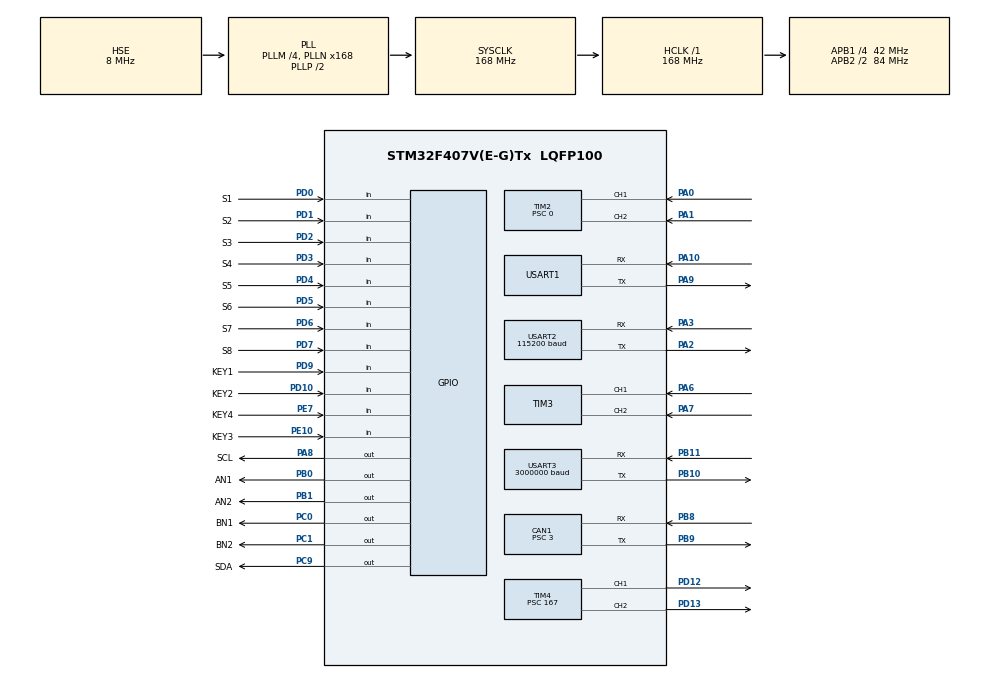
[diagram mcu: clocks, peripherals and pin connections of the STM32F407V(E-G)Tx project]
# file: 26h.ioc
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CAN1.BS1=CAN_BS1_10TQ
CAN1.BS2=CAN_BS2_3TQ
CAN1.CalculateBaudRate=1000000
CAN1.CalculateTimeBit=1000
CAN1.CalculateTimeQuantum=71.42857142857143
CAN1.Prescaler=3
Dma.Request0=USART2_RX
Dma.Request1=USART3_RX
Dma.USART2_RX.0.Direction=DMA_PERIPH_TO_MEMORY
Dma.USART2_RX.0.FIFOMode=DMA_FIFOMODE_DISABLE
Dma.USART2_RX.0.Instance=DMA1_Stream5
Dma.USART2_RX.0.MemDataAlignment=DMA_MDATAALIGN_BYTE
Dma.USART2_RX.0.MemInc=DMA_MINC_ENABLE
Dma.USART2_RX.0.Mode=DMA_NORMAL
Dma.USART2_RX.0.PeriphDataAlignment=DMA_PDATAALIGN_BYTE
Dma.USART2_RX.0.PeriphInc=DMA_PINC_DISABLE
Dma.USART2_RX.0.Priority=DMA_PRIORITY_LOW
Dma.USART3_RX.1.Direction=DMA_PERIPH_TO_MEMORY
Dma.USART3_RX.1.FIFOMode=DMA_FIFOMODE_DISABLE
Dma.USART3_RX.1.Instance=DMA1_Stream1
Dma.USART3_RX.1.MemDataAlignment=DMA_MDATAALIGN_BYTE
Dma.USART3_RX.1.MemInc=DMA_MINC_ENABLE
Dma.USART3_RX.1.Mode=DMA_CIRCULAR
Dma.USART3_RX.1.PeriphDataAlignment=DMA_PDATAALIGN_BYTE
Dma.USART3_RX.1.PeriphInc=DMA_PINC_DISABLE
Dma.USART3_RX.1.Priority=DMA_PRIORITY_HIGH
Mcu.Family=STM32F4
Mcu.Name=STM32F407V(E-G)Tx
Mcu.Package=LQFP100
NVIC.CAN1_RX0_IRQn=true\:0\:0\:false\:false\:true\:true\:true\:true
NVIC.CAN1_TX_IRQn=true\:0\:0\:false\:false\:true\:true\:true\:true
NVIC.DMA1_Stream1_IRQn=true\:0\:0\:false\:false\:true\:false\:true\:true
NVIC.DMA1_Stream5_IRQn=true\:0\:0\:false\:false\:true\:false\:true\:true
NVIC.PriorityGroup=NVIC_PRIORITYGROUP_4
NVIC.TIM5_IRQn=true\:0\:0\:false\:false\:true\:true\:true\:true
NVIC.TIM6_DAC_IRQn=true\:1\:0\:true\:false\:true\:true\:true\:true
NVIC.TIM7_IRQn=true\:2\:0\:true\:false\:true\:true\:true\:true
NVIC.USART1_IRQn=true\:0\:0\:false\:false\:true\:true\:true\:true
NVIC.USART2_IRQn=true\:0\:0\:false\:false\:true\:true\:true\:true
NVIC.USART3_IRQn=true\:0\:0\:false\:false\:true\:true\:true\:true
PA0-WKUP.Signal=S_TIM2_CH1_ETR
PA1.Signal=S_TIM2_CH2
PA10.Mode=Asynchronous
PA10.Signal=USART1_RX
PA13.Mode=Serial_Wire
PA13.Signal=SYS_JTMS-SWDIO
PA14.Mode=Serial_Wire
PA14.Signal=SYS_JTCK-SWCLK
PA2.Mode=Asynchronous
PA2.Signal=USART2_TX
PA3.Mode=Asynchronous
PA3.Signal=USART2_RX
PA6.Signal=S_TIM3_CH1
PA7.Signal=S_TIM3_CH2
PA8.GPIO_Label=SCL
PA8.Signal=GPIO_Output
PA9.Mode=Asynchronous
PA9.Signal=USART1_TX
PB0.GPIO_Label=AN1
PB0.Signal=GPIO_Output
PB1.GPIO_Label=AN2
PB1.Signal=GPIO_Output
PB10.Mode=Asynchronous
PB10.Signal=USART3_TX
PB11.Mode=Asynchronous
PB11.Signal=USART3_RX
PB8.Mode=CAN_Activate
PB8.Signal=CAN1_RX
PB9.Mode=CAN_Activate
PB9.Signal=CAN1_TX
PC0.GPIO_Label=BN1
PC0.Signal=GPIO_Output
PC1.GPIO_Label=BN2
PC1.Signal=GPIO_Output
PC9.GPIO_Label=SDA
PC9.Signal=GPIO_Output
PD0.GPIO_Label=S1
PD0.Signal=GPIO_Input
PD1.GPIO_Label=S2
PD1.Signal=GPIO_Input
PD10.GPIO_Label=KEY2
PD10.GPIO_PuPd=GPIO_PULLUP
PD10.Signal=GPIO_Input
PD12.Signal=S_TIM4_CH1
PD13.Signal=S_TIM4_CH2
PD2.GPIO_Label=S3
PD2.Signal=GPIO_Input
PD3.GPIO_Label=S4
PD3.Signal=GPIO_Input
PD4.GPIO_Label=S5
PD4.Signal=GPIO_Input
PD5.GPIO_Label=S6
PD5.Signal=GPIO_Input
PD6.GPIO_Label=S7
PD6.Signal=GPIO_Input
PD7.GPIO_Label=S8
PD7.Signal=GPIO_Input
PD9.GPIO_Label=KEY1
PD9.GPIO_PuPd=GPIO_PULLUP
PD9.Signal=GPIO_Input
PE10.GPIO_Label=KEY3
PE10.GPIO_PuPd=GPIO_PULLUP
PE10.Signal=GPIO_Input
PE7.GPIO_Label=KEY4
PE7.GPIO_PuPd=GPIO_PULLUP
PE7.Signal=GPIO_Input
PH0-OSC_IN.Mode=HSE-External-Oscillator
PH0-OSC_IN.Signal=RCC_OSC_IN
PH1-OSC_OUT.Mode=HSE-External-Oscillator
PH1-OSC_OUT.Signal=RCC_OSC_OUT
ProjectManager.HeapSize=0x200
ProjectManager.StackSize=0x400
ProjectManager.TargetToolchain=CMake
RCC.48MHZClocksFreq_Value=84000000
RCC.AHBFreq_Value=168000000
RCC.APB1CLKDivider=RCC_HCLK_DIV4
RCC.APB1Freq_Value=42000000
RCC.APB1TimFreq_Value=84000000
RCC.APB2CLKDivider=RCC_HCLK_DIV2
RCC.APB2Freq_Value=84000000
RCC.APB2TimFreq_Value=168000000
RCC.CortexFreq_Value=168000000
RCC.HCLKFreq_Value=168000000
RCC.HSE_VALUE=8000000
RCC.HSI_VALUE=16000000
RCC.LSE_VALUE=32768
RCC.PLLM=4
RCC.PLLN=168
RCC.PLLSourceVirtual=RCC_PLLSOURCE_HSE
RCC.SYSCLKFreq_VALUE=168000000
RCC.SYSCLKSource=RCC_SYSCLKSOURCE_PLLCLK
RCC.VCOOutputFreq_Value=336000000
SH.S_TIM2_CH1_ETR.0=TIM2_CH1,Encoder_Interface
SH.S_TIM2_CH2.0=TIM2_CH2,Encoder_Interface
SH.S_TIM3_CH1.0=TIM3_CH1,Encoder_Interface
SH.S_TIM3_CH2.0=TIM3_CH2,Encoder_Interface
SH.S_TIM4_CH1.0=TIM4_CH1,PWM Generation1 CH1
SH.S_TIM4_CH2.0=TIM4_CH2,PWM Generation2 CH2
TIM2.Period=65535
TIM2.Prescaler=0
TIM4.Channel-PWM\ Generation1\ CH1=TIM_CHANNEL_1
TIM4.Channel-PWM\ Generation2\ CH2=TIM_CHANNEL_2
TIM4.Period=99
TIM4.Prescaler=167
TIM5.Period=19999
TIM5.Prescaler=83
TIM6.Period=1999
TIM6.Prescaler=83
TIM7.Period=9999
TIM7.Prescaler=83
USART1.VirtualMode=VM_ASYNC
USART2.BaudRate=115200
USART2.OverSampling=UART_OVERSAMPLING_16
USART2.VirtualMode=VM_ASYNC
USART3.BaudRate=3000000
USART3.OverSampling=UART_OVERSAMPLING_8
USART3.VirtualMode=VM_ASYNC
VP_TIM5_VS_ClockSourceINT.Mode=Internal
VP_TIM6_VS_ClockSourceINT.Mode=Enable_Timer
VP_TIM7_VS_ClockSourceINT.Mode=Enable_Timer
board=custom

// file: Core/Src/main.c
/* USER CODE BEGIN Header */
/**
  ******************************************************************************
  * @file           : main.c
  * @brief          : Main program body
  ******************************************************************************
  * @attention
  *
  * Copyright (c) 2026 STMicroelectronics.
  * All rights reserved.
  *
  * This software is licensed under terms that can be found in the LICENSE file
  * in the root directory of this software component.
  * If no LICENSE file comes with this software, it is provided AS-IS.
  *
  ******************************************************************************
  */
/* USER CODE END Header */
/*
                   _ooOoo_
                  o8888888o
                  88" . "88
                  (| -_- |)
                  O\  =  /O
               ____/`---'\____
             .'  \\|     |//  `.
            /  \\|||  :  |||//  \
           /  _||||| -:- |||||-  \
           |   | \\\  -  /// |   |
           | \_|  ''\---/''  |   |
           \  .-\__  `-`  ___/-. /
         ___`. .'  /--.--\  `. . __
      ."" '<  `.___\_<|>_/___.'  >'"".
     | | :  `- \`.;`\ _ /`;.`/ - ` : | |
     \  \ `-.   \_ __\ /__ _/   .-` /  /
======`-.____`-.___\_____/___.-`____.-'======
                   `=---='
^^^^^^^^^^^^^^^^^^^^^^^^^^^^^^^^^^^^^^^^^^^^^
            佛祖保佑       永无BUG
*/
#include "main.h"
#include "can.h"
#include "dma.h"
#include "tim.h"
#include "usart.h"
#include "gpio.h"

/* USER CODE BEGIN Includes */
#include "gm6020_can.h"
#include "debug_uart.h"
#include "pid.h"
#include "flash_params.h"
#include "chassis_pid.h"
#include "motor.h"
#include "gray_sensor.h"
#include "oled.h"
#include "vision_uart.h"
#include "qiu_weizhi.h"
#include "bno085_shtp.h"
#include "competition.h"
#include <stdio.h>
/* USER CODE END Includes */

/* USER CODE BEGIN PD */
/* chassis tracking (ONE), TIM5 20ms
 * 基础速度不再是常量：改由 competition 按任务/斜坡给
 * （Competition_GetTrackSpeedRPM），起停才能缓合。 */
#define TRACK_SENSOR_REVERSED  0
#define LEFT_ENCODER_SIGN      (-1)
#define RIGHT_ENCODER_SIGN     1

#define PID_DEBUG_DISABLED        0
#define PID_DEBUG_LEFT            1
#define PID_DEBUG_RIGHT           2
#define PID_DEBUG_BOTH            3
#define PID_DEBUG_MOTOR           PID_DEBUG_DISABLED
#define PID_DEBUG_TARGET_RPM      230.0f
/* OLED 刷新和按键消抖都搬进 competition 了，这里不再需要。
 * KEY1~4 现在是比赛菜单键（上一项/下一项/启动/停止），
 * 不再是电机启停——手动启停请用串口 E/S。 */

#define ENCODER_COUNTS_PER_REV 28.0f
#define MOTOR_GEAR_RATIO       13.0f
#define CONTROL_PERIOD_SECONDS 0.020f
#define ENCODER_RPM_PER_COUNT  \
  (60.0f / (ENCODER_COUNTS_PER_REV * MOTOR_GEAR_RATIO * CONTROL_PERIOD_SECONDS))

/* 平台角度已到位且转子停住时，逐拍释放速度环历史积分。
 * 避免角度环目标归零后仍带着上一段运动的保持电压。 */
#define SUDU_JINGZHI_MUBIAO_RPM  0.30f
#define SUDU_JINGZHI_SHICE_RPM   1.00f
#define SUDU_JIFEN_SHUAIJIAN     0.95f
/* USER CODE END PD */

/* USER CODE BEGIN PV */
volatile float   mubiao_sudu    = 0.0f;
volatile uint8_t dianji_shineng = 1;
PID_t sudu_pid;                 /* 速度环 2ms */
PID_t jiaodu_pid;               /* 角度环 5ms */

/* 0=纯速度(V)  1=角度环(T)：T 给相对水平倾角(度) */
volatile uint8_t  jiaodu_moshi     = 0;
volatile float    mubiao_qingjiao  = 0.0f;   /* 目标倾角 °，T 命令写入 */
volatile float    mubiao_raw_f     = (float)JIAODU_PINGHENG_RAW;
volatile float    jiaodu_rpm_cmd   = 0.0f;   /* 角度环输出的转速指令 */

volatile int16_t  dianya_shuchu = 0;
volatile uint32_t fasong_count  = 0;
volatile int8_t   zhuanxiang   = 1;
volatile int8_t   xianwei_zt   = 0;
volatile uint32_t xianwei_cnt  = 0;

static GraySensor_HandleTypeDef tracking_sensor;
#if PID_DEBUG_MOTOR == PID_DEBUG_DISABLED
static uint32_t tracking_lost_time = 0U;
static uint8_t tracking_state = TRACK_STATE_NORMAL;
#endif
volatile int32_t encoder_left_count = 0;
volatile int32_t encoder_right_count = 0;
volatile float motor_rpm_left = 0.0f;
volatile float motor_rpm_right = 0.0f;
volatile int16_t debug_left_pwm = 0;
volatile int16_t debug_right_pwm = 0;
volatile float competition_target_rpm = 0.0f;
volatile float competition_target_accel_peak_rpm_s = 0.0f;
BNO085_SHTP_Data_t bno085_shtp_data = {0};
/* USER CODE END PV */

void SystemClock_Config(void);

/* USER CODE BEGIN 0 */
static float jiaodu_xianwei(float mubiao)
{
    int16_t dangqian = motor_date[0].rotor_angle;
    float wai_zheng = mubiao * (float)zhuanxiang;

    if (dangqian >= JIAODU_RUAN_MAX && wai_zheng > 0.0f)
    {
        xianwei_zt = 1;
        xianwei_cnt++;
        PID_Reset(&sudu_pid);
        return 0.0f;
    }
    if (dangqian <= JIAODU_RUAN_MIN && wai_zheng < 0.0f)
    {
        xianwei_zt = -1;
        xianwei_cnt++;
        PID_Reset(&sudu_pid);
        return 0.0f;
    }

    xianwei_zt = 0;
    return mubiao;
}

/* 倾角(°) → 目标 raw，夹在工作区（Flash 可改 jiaodu_gongzuo_du）且不超出软限 */
static float qingjiao_dao_raw(float qingjiao_du)
{
    float raw;
    float lo;
    float hi;
    float banjing = jiaodu_gongzuo_du;

    if (banjing < 0.1f)
    {
        banjing = JIAODU_GONGZUO_DU;
    }
    if (qingjiao_du > banjing)
    {
        qingjiao_du = banjing;
    }
    if (qingjiao_du < -banjing)
    {
        qingjiao_du = -banjing;
    }

    raw = (float)jiaodu_pingheng_raw + qingjiao_du * JIAODU_TICK_PER_DEG;
    lo  = (float)JIAODU_RUAN_MIN;
    hi  = (float)JIAODU_RUAN_MAX;
    if (raw < lo)
    {
        raw = lo;
    }
    if (raw > hi)
    {
        raw = hi;
    }
    return raw;
}

/* 角度环 5ms：目标 raw vs 实测 raw → 目标 RPM（写入 mubiao_sudu） */
static void jiaodu_huan_gengxin(void)
{
    static float shangci_mubiao_raw = 0.0f;
    static uint32_t shangci_ms = 0U;
    static uint8_t qian_kui_youxiao = 0U;
    float dangqian;
    float fankui_out;
    float qian_kui_rpm = 0.0f;
    float out;
    uint32_t now_ms;

    mubiao_raw_f = qingjiao_dao_raw(mubiao_qingjiao);
    dangqian = (float)motor_date[0].rotor_angle;
    now_ms = HAL_GetTick();

    /* 对最终限幅目标求速度，直接给出电机所需RPM。首次运行或停顿后
     * 只同步历史目标，避免停机期间积累的目标差在重启时形成尖峰。 */
    if (qian_kui_youxiao)
    {
        uint32_t dt_ms = now_ms - shangci_ms;

        if (dt_ms > 0U && dt_ms <= JIAODU_RATE_FF_TIMEOUT_MS)
        {
            float mubiao_sulv_deg_s =
                ((mubiao_raw_f - shangci_mubiao_raw) / JIAODU_TICK_PER_DEG) *
                (1000.0f / (float)dt_ms);

            qian_kui_rpm = mubiao_sulv_deg_s /
                           JIAODU_DEG_S_PER_RPM * JIAODU_RATE_FF_GAIN;
            qian_kui_rpm = PID_LIMIT_MIN_MAX(qian_kui_rpm,
                                              -JIAODU_RATE_FF_RPM_MAX,
                                               JIAODU_RATE_FF_RPM_MAX);
        }
    }
    shangci_mubiao_raw = mubiao_raw_f;
    shangci_ms = now_ms;
    qian_kui_youxiao = 1U;

    /* 复用 PID_SpeedLoop 形：actual/target 单位都是 raw tick
     * 输出当作 RPM。Ki 默认 0。近零误差仍连续输出，不能硬清零，
     * 否则平台会在到位边界失去制动并形成粘滑。增益按5ms调。 */
    fankui_out = PID_SpeedLoop(&jiaodu_pid, dangqian, mubiao_raw_f);
    out = fankui_out + qian_kui_rpm;
    out = PID_LIMIT_MIN_MAX(out, -JIAODU_RPM_MAX, JIAODU_RPM_MAX);

    jiaodu_rpm_cmd = out;
    mubiao_sudu = out;
}

/* MotorButtons_Update / OLED_UpdateMotorRPM 已移除：
 * KEY1~4 和 OLED 现在归 competition 模块（比赛菜单+计时+球位置），
 * 底盘启停由 Competition_ChassisTick20ms 的返回值决定。
 * 手动启停电机改用串口 E / S。 */
/* TIM6 2ms 速度环+CAN；TIM7 5ms 角度环+打印分频；TIM5 20ms 底盘
 *
 * 无 CAN 反馈时绝不闭环：角度恒为0，限位会失真。
 */
void HAL_TIM_PeriodElapsedCallback(TIM_HandleTypeDef *htim)
{
    if (htim->Instance == TIM6)
    {
        uint8_t fankui_huo = (motor_date[0].rx_count > 0U);

        if (dianji_shineng && fankui_huo)
        {
            float mubiao_anquan = jiaodu_xianwei(mubiao_sudu);
            float shice_sudu = (float)motor_date[0].rotor_speed;

            /* 只在平台既不要求转动、转子也已静止时衰减旧积分。
             * 运动中不碰积分，避免损失跟随能力。 */
            if (mubiao_anquan > -SUDU_JINGZHI_MUBIAO_RPM &&
                mubiao_anquan <  SUDU_JINGZHI_MUBIAO_RPM &&
                shice_sudu > -SUDU_JINGZHI_SHICE_RPM &&
                shice_sudu <  SUDU_JINGZHI_SHICE_RPM)
            {
                sudu_pid.err_sum *= SUDU_JIFEN_SHUAIJIAN;
            }

            float out = PID_SpeedLoop(&sudu_pid, shice_sudu, mubiao_anquan);
            dianya_shuchu = (int16_t)out;

            int16_t jiao = motor_date[0].rotor_angle;
            float  xiang = (float)dianya_shuchu * (float)zhuanxiang;
            if ((jiao >= JIAODU_MAX && xiang > 0.0f) ||
                (jiao <= JIAODU_MIN && xiang < 0.0f))
            {
                dianya_shuchu = 0;
            }
        }
        else
        {
            PID_Reset(&sudu_pid);
            dianya_shuchu = 0;
            if (jiaodu_moshi)
            {
                PID_Reset(&jiaodu_pid);
                jiaodu_rpm_cmd = 0.0f;
            }
            /* 位置环也一起清：停机期间积分照攒，E1 那一刻会猛甩一下 */
            if (qiu_moshi)
            {
                QiuWeizhi_Reset();
            }
        }

        CAN_Transmit(dianya_shuchu, 0, 0, 0, Voltage);
        fasong_count++;
    }
    else if (htim->Instance == TIM7)
    {
        /* 灰度标记检测要 5ms 拍，比 20ms 底盘环快，才不会漏掉窄标记 */
        Competition_MarkerTick5ms();

        /* 5ms位置环服务：新视觉帧才入队，每2帧算一次外环；
         * 其余拍只把倾角命令按M限速送给200Hz角度环。 */
        if (qiu_moshi && dianji_shineng &&
            (motor_date[0].rx_count > 0U))
        {
            QiuWeizhi_Update();
        }

        /* 5ms：角度模式且有反馈时跑外环 */
        if (jiaodu_moshi && dianji_shineng &&
            (motor_date[0].rx_count > 0U))
        {
            jiaodu_huan_gengxin();
        }

        /* 位置环调试打印10Hz；调参固件在待机及所有比赛任务中均开启。 */
        {
            static uint8_t dayin_fenpin = 0;
            if (!dbg_stream_enable || !Competition_PeriodicDebugEnabled())
            {
                dayin_fenpin = 0;
                dbg_print_pending = 0;
            }
            else if (++dayin_fenpin >= QIU_DAYIN_FENPIN)
            {
                dayin_fenpin = 0;
                if (dbg_print_pending) dbg_print_lost++;
                else                   dbg_print_pending = 1;
            }
        }
    }
    else if (htim->Instance == TIM5)
    {
        Competition_ChassisMode competition_mode;
        int16_t competition_left_pwm = 0;
        int16_t competition_right_pwm = 0;
#if PID_DEBUG_MOTOR == PID_DEBUG_LEFT || PID_DEBUG_MOTOR == PID_DEBUG_RIGHT
        float debug_pwm;
#else
        float left_pwm;
        float right_pwm;
#endif

        encoder_left_count = LEFT_ENCODER_SIGN *
                             (int16_t)__HAL_TIM_GET_COUNTER(&htim2);
        encoder_right_count = RIGHT_ENCODER_SIGN *
                              (int16_t)__HAL_TIM_GET_COUNTER(&htim3);
        __HAL_TIM_SET_COUNTER(&htim2, 0U);
        __HAL_TIM_SET_COUNTER(&htim3, 0U);

        motor_rpm_left = (float)encoder_left_count * ENCODER_RPM_PER_COUNT;
        motor_rpm_right = (float)encoder_right_count * ENCODER_RPM_PER_COUNT;

        /* 底盘启停权交给 competition：STOP=停、DIRECT=直行给定PWM、
         * TRACK=往下走循迹。原来的 motor_run_enabled + KEY2 已撤。 */
        competition_mode = Competition_ChassisTick20ms(motor_rpm_left,
                                                        motor_rpm_right,
                                                        encoder_left_count,
                                                        encoder_right_count,
                                                        &competition_left_pwm,
                                                        &competition_right_pwm);
        {
            static float shangci_dipan_mubiao_rpm = 0.0f;
            static uint8_t dipan_yidong_yisuocun = 0U;
            float dangqian_dipan_mubiao_rpm = Competition_GetTrackSpeedRPM();
            float mubiao_jiasudu_rpm_s =
                (dangqian_dipan_mubiao_rpm - shangci_dipan_mubiao_rpm) / 0.020f;
            uint8_t cmd_ff_active = Competition_CommandFeedforwardActive();
            float cmd_ff_gain = Competition_GetCommandFeedforwardGain();
            float cmd_ff_deg = Competition_AdjustCommandFeedforwardDeg(
                cmd_ff_gain * mubiao_jiasudu_rpm_s);
            int32_t left_count_abs = (encoder_left_count >= 0)
                                   ? encoder_left_count : -encoder_left_count;
            int32_t right_count_abs = (encoder_right_count >= 0)
                                    ? encoder_right_count : -encoder_right_count;
            float abs_jiasudu = (mubiao_jiasudu_rpm_s >= 0.0f)
                              ? mubiao_jiasudu_rpm_s : -mubiao_jiasudu_rpm_s;
            float abs_fengzhi = (competition_target_accel_peak_rpm_s >= 0.0f)
                              ? competition_target_accel_peak_rpm_s
                              : -competition_target_accel_peak_rpm_s;

            competition_target_rpm = dangqian_dipan_mubiao_rpm;
            if (!cmd_ff_active)
            {
                dipan_yidong_yisuocun = 0U;
            }
            else if ((left_count_abs + right_count_abs) >= 2)
            {
                /* 两个编码器计数约等于平均轮速8.24RPM，确认底盘已克服
                 * 静摩擦后再允许命令前馈；锁存避免低速量化反复开关。 */
                dipan_yidong_yisuocun = 1U;
            }
            QiuWeizhi_SetChassisCommandAccelFF(
                (cmd_ff_gain != 0.0f) ? (cmd_ff_deg / cmd_ff_gain) : 0.0f,
                cmd_ff_gain,
                cmd_ff_active && dipan_yidong_yisuocun);
            if (abs_jiasudu > abs_fengzhi)
            {
                competition_target_accel_peak_rpm_s = mubiao_jiasudu_rpm_s;
            }
            shangci_dipan_mubiao_rpm = dangqian_dipan_mubiao_rpm;
        }
        if (competition_mode == COMP_CHASSIS_STOP)
        {
            Chassis_PID_Reset(&piderr);
            Chassis_PID_Reset(&pidMotor1Speed);
            Chassis_PID_Reset(&pidMotor2Speed);
            debug_left_pwm = 0;
            debug_right_pwm = 0;
            Set_pwm(0, 0);
            return;
        }
        if (competition_mode == COMP_CHASSIS_DIRECT)
        {
            Chassis_PID_Reset(&piderr);
            Chassis_PID_Reset(&pidMotor1Speed);
            Chassis_PID_Reset(&pidMotor2Speed);
            debug_left_pwm = competition_left_pwm;
            debug_right_pwm = competition_right_pwm;
            Set_pwm(competition_left_pwm, competition_right_pwm);
            return;
        }

#if PID_DEBUG_MOTOR == PID_DEBUG_LEFT
        debug_pwm = PID_realize(&pidMotor1Speed, motor_rpm_left);
        debug_left_pwm = (int16_t)debug_pwm;
        debug_right_pwm = 0;
        Set_pwm(debug_left_pwm, 0);
        return;
#elif PID_DEBUG_MOTOR == PID_DEBUG_RIGHT
        debug_pwm = PID_realize(&pidMotor2Speed, motor_rpm_right);
        debug_left_pwm = 0;
        debug_right_pwm = (int16_t)debug_pwm;
        Set_pwm(0, debug_right_pwm);
        return;
#elif PID_DEBUG_MOTOR == PID_DEBUG_BOTH
        left_pwm = PID_realize(&pidMotor1Speed, motor_rpm_left);
        right_pwm = PID_realize(&pidMotor2Speed, motor_rpm_right);
        debug_left_pwm = (int16_t)left_pwm;
        debug_right_pwm = (int16_t)right_pwm;
        Set_pwm(debug_left_pwm, debug_right_pwm);
        return;
#else
        GraySensor_Update(&tracking_sensor);
        XinZhiStateMachine(&tracking_sensor,
                           &piderr,
                           &pidMotor1Speed,
                           &pidMotor2Speed,
                           Competition_GetTrackSpeedRPM(),
                           &tracking_lost_time,
                           &tracking_state,
                           Competition_BallTrackProfileActive());

        if (tracking_state == TRACK_STATE_STOP)
        {
            Chassis_PID_Reset(&pidMotor1Speed);
            Chassis_PID_Reset(&pidMotor2Speed);
            Set_pwm(0, 0);
            /* 告知 competition 丢线，让它退出本圈而不是干等 */
            Competition_TrackLost();
            return;
        }

        left_pwm = PID_realize(&pidMotor1Speed, motor_rpm_left);
        right_pwm = PID_realize(&pidMotor2Speed, motor_rpm_right);
        Set_pwm((int)left_pwm, (int)right_pwm);
#endif
    }
}

void HAL_UART_RxCpltCallback(UART_HandleTypeDef *huart)
{
    if (huart->Instance == USART1)
    {
        Debug_RxByte();
    }
}
/* USER CODE END 0 */

int main(void)
{

  /* MCU Configuration--------------------------------------------------------*/

  /* Reset of all peripherals, Initializes the Flash interface and the Systick. */

  HAL_Init();

  /* Configure the system clock */
  SystemClock_Config();

  /* Initialize all configured peripherals */
  MX_GPIO_Init();
  MX_DMA_Init();
  MX_CAN1_Init();
  MX_USART1_UART_Init();
  MX_TIM2_Init();
  MX_TIM3_Init();
  MX_TIM4_Init();
  MX_TIM5_Init();
  MX_USART2_UART_Init();
  MX_USART3_UART_Init();
  MX_TIM6_Init();
  MX_TIM7_Init();
  /* USER CODE BEGIN 2 */
  /* 尽早启动BNO085 DMA，避免后续OLED/Flash初始化期间错过冷启动广告。 */
  BNO085_SHTP_Init();
  Configure_Filter();

  /* 先装宏默认，再开机自动加载 Flash（有存档则覆盖） */
  PID_Init(&sudu_pid, SUDU_KP_DEFAULT, SUDU_KI_DEFAULT, SUDU_KD_DEFAULT);
  PID_Init(&jiaodu_pid, JIAODU_KP_DEFAULT, JIAODU_KI_DEFAULT, JIAODU_KD_DEFAULT);
  QiuWeizhi_Init();          /* 位置环宏默认，紧接着可被 Flash 覆盖 */
  jiaodu_pingheng_raw = JIAODU_PINGHENG_RAW;
  jiaodu_gongzuo_du   = JIAODU_GONGZUO_DU;
  (void)FlashParams_Load(&sudu_pid, &jiaodu_pid, &zhuanxiang);

  /* 位置环启动最大倾角与角度环工作半宽一致，旧 Flash 的 H 不覆盖此默认。 */
  qiu_qingjiao_max = jiaodu_gongzuo_du;

  mubiao_qingjiao = 0.0f;
  mubiao_raw_f = (float)jiaodu_pingheng_raw;
  /* 位置环和电机默认使能；无CAN反馈时速度环仍会保持零输出。 */
  jiaodu_moshi = 1;
  qiu_moshi = 1;
  dianji_shineng = 1;
  QiuWeizhi_Reset();

  Chassis_PID_init();
  OLED_Init();
#if PID_DEBUG_MOTOR == PID_DEBUG_LEFT
  pidMotor1Speed.target_val = PID_DEBUG_TARGET_RPM;
  pidMotor2Speed.target_val = 0.0f;
#elif PID_DEBUG_MOTOR == PID_DEBUG_RIGHT
  pidMotor1Speed.target_val = 0.0f;
  pidMotor2Speed.target_val = PID_DEBUG_TARGET_RPM;
#elif PID_DEBUG_MOTOR == PID_DEBUG_BOTH
  pidMotor1Speed.target_val = PID_DEBUG_TARGET_RPM;
  pidMotor2Speed.target_val = PID_DEBUG_TARGET_RPM;
#endif

#if TRACK_SENSOR_REVERSED
  GraySensor_Init(&tracking_sensor,
                  GPIOD, GPIO_PIN_7,
                  GPIOD, GPIO_PIN_6,
                  GPIOD, GPIO_PIN_5,
                  GPIOD, GPIO_PIN_4,
                  GPIOD, GPIO_PIN_3,
                  GPIOD, GPIO_PIN_2,
                  GPIOD, GPIO_PIN_1,
                  GPIOD, GPIO_PIN_0);
#else
  GraySensor_Init(&tracking_sensor,
                  GPIOD, GPIO_PIN_0,
                  GPIOD, GPIO_PIN_1,
                  GPIOD, GPIO_PIN_2,
                  GPIOD, GPIO_PIN_3,
                  GPIOD, GPIO_PIN_4,
                  GPIOD, GPIO_PIN_5,
                  GPIOD, GPIO_PIN_6,
                  GPIOD, GPIO_PIN_7);
#endif

  Set_pwm(0, 0);
  __HAL_TIM_SET_COUNTER(&htim2, 0U);
  __HAL_TIM_SET_COUNTER(&htim3, 0U);

  printf("\r\n# GM6020 ball cascade ready (vision/2 outer, 4-frame velocity)\r\n");
  printf("# qiu and motor enabled at boot; CAN feedback required for output\r\n");
  printf("# pos X=%.2f Y=%.3f Z=%.2f | vel C=%.3f O=%.3f\r\n",
         qiu_pid.Kp, qiu_pid.Ki, qiu_pid.Kd,
         (double)qiu_vel_kp, (double)qiu_vel_kd);
  printf("# G=%.1fmm H=±%.1fdeg U=%.1fmm M=%.0fdeg/s N=%d\r\n",
         (double)qiu_mubiao_mm, (double)qiu_qingjiao_max,
         (double)qiu_siqu_mm, (double)qiu_sulv_max, (int)qiu_fuhao);

  Vision_Init();   /* USART2 DMA+IDLE 收 MaixCam 球位置；USART3 留给 IMU */
  Competition_Init();  /* 比赛任务状态机：KEY1~4 菜单 + OLED + 底盘调度 */

  HAL_TIM_Base_Start_IT(&htim6);
  HAL_TIM_Base_Start_IT(&htim7);

  if (HAL_TIM_PWM_Start(&htim4, TIM_CHANNEL_1) != HAL_OK ||
      HAL_TIM_PWM_Start(&htim4, TIM_CHANNEL_2) != HAL_OK ||
      HAL_TIM_Encoder_Start(&htim2, TIM_CHANNEL_ALL) != HAL_OK ||
      HAL_TIM_Encoder_Start(&htim3, TIM_CHANNEL_ALL) != HAL_OK ||
      HAL_TIM_Base_Start_IT(&htim5) != HAL_OK)
  {
    Error_Handler();
  }

  Debug_RxStart();
  Debug_PrintParams();
  /* 开机首屏由 Competition_Init 里的 comp_render_oled 画 */
  /* USER CODE END 2 */

  /* Infinite loop */
  while (1)
  {

    /* USER CODE BEGIN 3 */
    Debug_ParseCommand();

    Vision_Poll();   /* 超时清 vision.connected */
    (void)BNO085_SHTP_Read(&bno085_shtp_data);

    if (dbg_print_pending)
    {
      if (dbg_stream_enable && Competition_PeriodicDebugEnabled())
      {
        dianji_dayin();
      }
      dbg_print_pending = 0;
    }

    /* 比赛状态机：按键消抖、任务推进、OLED 刷新都在里面 */
    Competition_Service();
    /* 位置环调试走 dianji_dayin()（TIM7→USART1）：
     * A0: 100ms 位置环数据行
     * A1: 原始角度/视觉；A2: IMU线加速度标定；Q 查询完整参数 */
  /* USER CODE END 3 */
  }
}

void SystemClock_Config(void)
{
  RCC_OscInitTypeDef RCC_OscInitStruct = {0};
  RCC_ClkInitTypeDef RCC_ClkInitStruct = {0};

  /** Configure the main internal regulator output voltage
  */
  __HAL_RCC_PWR_CLK_ENABLE();
  __HAL_PWR_VOLTAGESCALING_CONFIG(PWR_REGULATOR_VOLTAGE_SCALE1);

  /** Initializes the RCC Oscillators according to the specified parameters
  * in the RCC_OscInitTypeDef structure.
  */
  RCC_OscInitStruct.OscillatorType = RCC_OSCILLATORTYPE_HSE;
  RCC_OscInitStruct.HSEState = RCC_HSE_ON;
  RCC_OscInitStruct.PLL.PLLState = RCC_PLL_ON;
  RCC_OscInitStruct.PLL.PLLSource = RCC_PLLSOURCE_HSE;
  RCC_OscInitStruct.PLL.PLLM = 4;
  RCC_OscInitStruct.PLL.PLLN = 168;
  RCC_OscInitStruct.PLL.PLLP = RCC_PLLP_DIV2;
  RCC_OscInitStruct.PLL.PLLQ = 4;
  if (HAL_RCC_OscConfig(&RCC_OscInitStruct) != HAL_OK)
  {
    Error_Handler();
  }

  /** Initializes the CPU, AHB and APB buses clocks
  */
  RCC_ClkInitStruct.ClockType = RCC_CLOCKTYPE_HCLK|RCC_CLOCKTYPE_SYSCLK
                              |RCC_CLOCKTYPE_PCLK1|RCC_CLOCKTYPE_PCLK2;
  RCC_ClkInitStruct.SYSCLKSource = RCC_SYSCLKSOURCE_PLLCLK;
  RCC_ClkInitStruct.AHBCLKDivider = RCC_SYSCLK_DIV1;
  RCC_ClkInitStruct.APB1CLKDivider = RCC_HCLK_DIV4;
  RCC_ClkInitStruct.APB2CLKDivider = RCC_HCLK_DIV2;

  if (HAL_RCC_ClockConfig(&RCC_ClkInitStruct, FLASH_LATENCY_5) != HAL_OK)
  {
    Error_Handler();
  }
}

void Error_Handler(void)
{
  __disable_irq();
  while (1)
  {
  }
}
